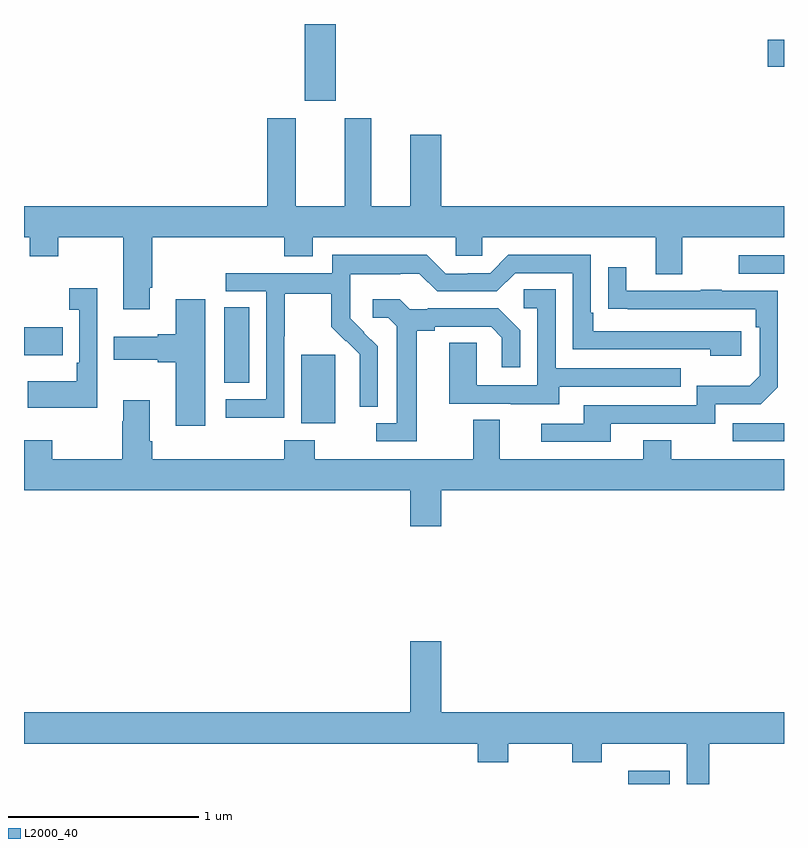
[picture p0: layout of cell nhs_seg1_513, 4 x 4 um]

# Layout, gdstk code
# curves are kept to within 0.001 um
import gdstk
lib = gdstk.Library(unit=1e-6, precision=1e-09)
def R(c, l, rs):  # rectangles x0, y0, x1, y1
    for r in rs: c.add(gdstk.rectangle(r[:2], r[2:], *l))
def P(c, l, *ps):  # polygons
    for p in ps: c.add(gdstk.Polygon(p, *l))
L2000_40 = (2000, 40)

nhs_seg1_513 = lib.new_cell('nhs_seg1_513')
R(nhs_seg1_513, L2000_40, [(142.179,538.199,142.398,538.27), (142.731,540.003,143,540.099), (140.459,540.098,140.638,540.459), (140.054,540.31,140.185,540.707), (139,540.455,139.205,540.603), (142.761,540.885,143,540.981), (140.477,541.794,140.641,542.199), (142.914,541.973,143,542.115)])
P(nhs_seg1_513, L2000_40, [(140.521,541.076),(141.273,541.076),(141.273,540.978),(141.411,540.978),(141.411,541.076),(142.325,541.076),(142.325,540.882),(142.465,540.882),(142.465,541.076),(143,541.076),(143,541.24),(141.196,541.24),(141.196,541.615),(141.032,541.615),(141.032,541.24),(140.827,541.24),(140.827,541.702),(140.687,541.702),(140.687,541.24),(140.431,541.24),(140.431,541.702),(140.279,541.702),(140.279,541.24),(139,541.24),(139,541.076),(139.031,541.076),(139.031,540.977),(139.179,540.977),(139.179,541.076),(139.523,541.076),(139.523,540.699),(139.663,540.699),(139.663,540.811),(139.676,540.811),(139.676,541.076),(140.369,541.076),(140.369,540.977),(140.521,540.977)],
  [(140.37,540.556),(140.373,540.556),(140.373,540.78),(140.617,540.78),(140.617,540.605),(140.694,540.528),(140.697,540.531),(140.768,540.461),(140.768,540.338),(140.766,540.338),(140.766,540.184),(140.862,540.184),(140.862,540.502),(140.716,540.65),(140.716,540.747),(140.718,540.747),(140.718,540.881),(140.981,540.881),(140.981,540.885),(141.081,540.885),(141.174,540.792),(141.489,540.792),(141.585,540.888),(141.888,540.888),(141.888,540.486),(142.613,540.486),(142.613,540.452),(142.774,540.452),(142.774,540.582),(141.997,540.582),(141.997,540.679),(141.984,540.679),(141.984,540.984),(141.549,540.984),(141.453,540.888),(141.335,540.888),(141.335,540.885),(141.219,540.885),(141.119,540.985),(140.622,540.985),(140.622,540.888),(140.061,540.888),(140.061,540.792),(140.274,540.792),(140.274,540.225),(140.061,540.225),(140.061,540.127),(140.37,540.127)],
  [(142.087,540.096),(142.638,540.096),(142.638,540.198),(142.878,540.198),(142.968,540.288),(142.968,540.795),(142.673,540.795),(142.673,540.8),(142.561,540.8),(142.561,540.795),(142.171,540.795),(142.171,540.919),(142.075,540.919),(142.075,540.7),(142.852,540.699),(142.852,540.602),(142.872,540.602),(142.872,540.348),(142.819,540.295),(142.542,540.295),(142.542,540.192),(141.947,540.192),(141.947,540.096),(141.723,540.096),(141.723,540),(142.087,540)],
  [(139.386,540.808),(139.239,540.808),(139.239,540.695),(139.29,540.695),(139.29,540.415),(139.278,540.415),(139.278,540.319),(139.021,540.319),(139.021,540.179),(139.386,540.179)],
  [(141.817,540.291),(142.457,540.291),(142.457,540.387),(141.798,540.387),(141.798,540.803),(141.63,540.803),(141.63,540.702),(141.702,540.702),(141.702,540.297),(141.384,540.297),(141.384,540.521),(141.239,540.521),(141.239,540.201),(141.563,540.201),(141.563,540.197),(141.817,540.197)],
  [(139.954,540.751),(139.799,540.751),(139.799,540.566),(139.703,540.566),(139.703,540.553),(139.473,540.553),(139.473,540.431),(139.703,540.431),(139.703,540.419),(139.799,540.419),(139.799,540.084),(139.954,540.084)],
  [(141.067,540.584),(141.163,540.584),(141.163,540.606),(141.458,540.606),(141.515,540.549),(141.515,540.393),(141.612,540.393),(141.612,540.586),(141.496,540.702),(141.124,540.702),(141.124,540.699),(141.03,540.699),(140.978,540.751),(140.835,540.751),(140.835,540.654),(140.916,540.654),(140.963,540.607),(140.963,540.099),(140.853,540.099),(140.853,540.003),(141.067,540.003)],
  [(141.196,539.744),(143,539.744),(143,539.908),(142.407,539.908),(142.407,540.007),(142.259,540.007),(142.259,539.908),(141.505,539.908),(141.505,540.116),(141.365,540.116),(141.365,539.908),(140.529,539.908),(140.529,540.007),(140.369,540.007),(140.369,539.908),(139.676,539.908),(139.676,540.004),(139.663,540.004),(139.663,540.22),(139.523,540.22),(139.523,540.107),(139.516,540.107),(139.516,539.908),(139.149,539.908),(139.149,540.007),(139.002,540.007),(139.002,539.908),(139,539.908),(139,539.744),(141.032,539.744),(141.032,539.556),(141.196,539.556)],
  [(142.606,538.412),(143,538.412),(143,538.576),(141.196,538.576),(141.196,538.951),(141.032,538.951),(141.032,538.576),(139,538.576),(139,538.412),(141.389,538.412),(141.389,538.313),(141.549,538.313),(141.549,538.412),(141.886,538.412),(141.886,538.313),(142.041,538.313),(142.041,538.412),(142.487,538.412),(142.487,538.199),(142.606,538.199)])

lib.write_gds('nhs_seg1_513.gds')
